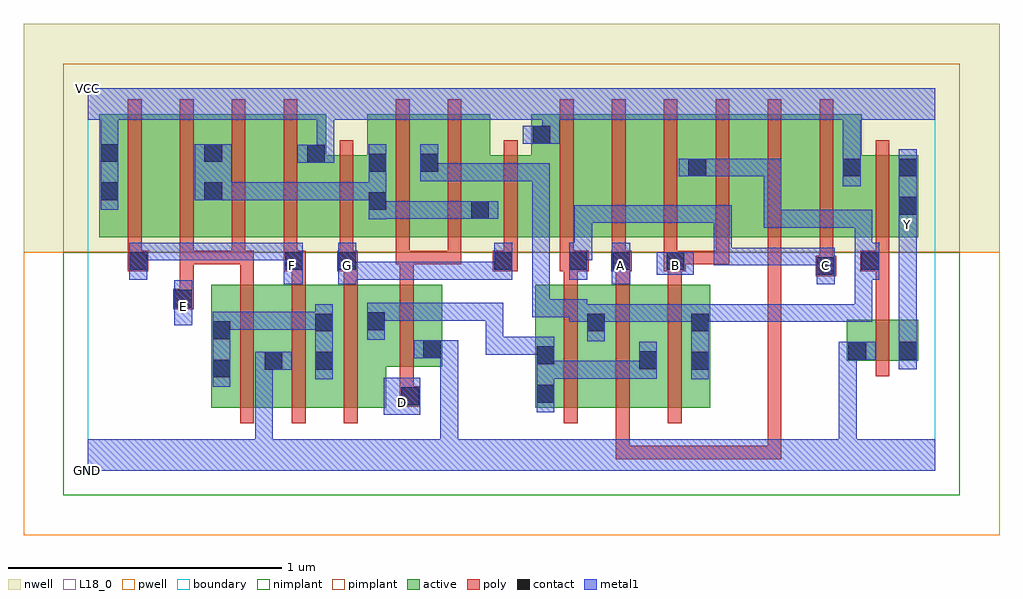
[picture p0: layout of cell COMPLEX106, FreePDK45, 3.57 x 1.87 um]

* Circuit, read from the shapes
.subckt COMPLEX106 A B C D E F G GND VCC Y
M1 GND E n1 VSUBS nfet w=0.45u l=0.05u
M2 n1 F GND VSUBS nfet w=0.45u l=0.05u
M3 n2 G n1 VSUBS nfet w=0.45u l=0.05u
M4 GND D n2 VSUBS nfet w=0.3u l=0.05u
M5 n3 C n2 VSUBS nfet w=0.45u l=0.05u
M6 n2 A n3 VSUBS nfet w=0.45u l=0.05u
M7 n3 B n2 VSUBS nfet w=0.45u l=0.05u
M8 Y n3 GND VSUBS nfet w=0.15u l=0.05u
M9 n4 F VCC n5 pfet w=0.45u l=0.05u
M10 n6 E n4 n5 pfet w=0.45u l=0.05u
M11 n7 E n6 n5 pfet w=0.45u l=0.05u
M12 VCC F n7 n5 pfet w=0.45u l=0.05u
M13 n6 G VCC n5 pfet w=0.3u l=0.05u m=2
M14 n3 D n6 n5 pfet w=0.45u l=0.05u m=2
M15 n8 C VCC n5 pfet w=0.45u l=0.05u
M16 n9 A n8 n5 pfet w=0.45u l=0.05u
M17 n3 B n9 n5 pfet w=0.45u l=0.05u
M18 n10 B n3 n5 pfet w=0.45u l=0.05u
M19 n11 A n10 n5 pfet w=0.45u l=0.05u
M20 VCC C n11 n5 pfet w=0.45u l=0.05u
M21 Y n3 VCC n5 pfet w=0.3u l=0.05u
.ends

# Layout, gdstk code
import gdstk
lib = gdstk.Library(unit=1e-6, precision=1e-09)
def R(c, l, rs):  # rectangles x0, y0, x1, y1
    for r in rs: c.add(gdstk.rectangle(r[:2], r[2:], *l))
def A(c, l, x, y, w, h, nx, ny, dx, dy):  # array of equal rectangles
    R(c, l, [(x+i*dx, y+j*dy, x+i*dx+w, y+j*dy+h) for i in range(nx) for j in range(ny)])
active = (1, 0)
pwell = (2, 0)
nwell = (3, 0)
nimplant = (4, 0)
pimplant = (5, 0)
poly = (9, 0)
contact = (10, 0)
metal1 = (11, 0)
L18_0 = (18, 0)
boundary = (235, 0)

complex106 = lib.new_cell('COMPLEX106')
R(complex106, active, [(0.452,0.23,0.717,0.68), (0.452,0.23,0.527,0.68), (0.642,0.23,0.902,0.68), (0.642,0.23,0.717,0.542), (0.827,0.23,1.092,0.68), (1.637,0.23,1.897,0.68), (1.822,0.23,2.087,0.68), (2.012,0.23,2.277,0.68), (1.637,0.232,1.712,0.68), (2.012,0.232,2.087,0.547), (2.202,0.232,2.277,0.68), (0.827,0.295,0.902,0.667), (1.822,0.295,1.897,0.675), (1.017,0.307,1.092,0.652), (1.017,0.38,1.297,0.68), (1.222,0.38,1.297,0.625), (2.777,0.402,2.852,0.552), (2.777,0.402,3.037,0.552), (2.962,0.402,3.037,0.552), (0.042,0.855,0.117,1.305), (0.042,0.855,0.267,1.305), (0.267,0.855,0.497,1.305), (0.422,0.855,0.647,1.305), (0.647,0.855,0.872,1.305), (0.797,0.855,1.097,1.155), (1.022,0.855,1.287,1.305), (1.212,0.855,1.472,1.305), (1.397,0.855,1.697,1.155), (1.622,0.855,1.847,1.305), (1.847,0.855,2.037,1.305), (2.037,0.855,2.267,1.305), (2.192,0.855,2.417,1.305), (2.417,0.855,2.607,1.305), (2.607,0.855,2.832,1.305), (2.757,0.855,3.037,1.155), (2.962,0.855,3.037,1.155), (0.422,0.857,0.497,1.2), (1.212,0.857,1.287,1.2), (2.192,0.857,2.267,1.2), (2.757,0.857,2.832,1.257), (1.022,0.887,1.097,1.2), (1.397,0.917,1.472,1.07), (1.622,0.925,1.697,1.305), (0.797,1.007,0.872,1.305)])
R(complex106, pwell, [(-0.235,-0.235,3.335,0.8)])
R(complex106, nwell, [(-0.235,0.8,3.335,1.635)])
R(complex106, nimplant, [(-0.09,-0.09,3.19,0.8)])
R(complex106, pimplant, [(-0.09,0.8,3.19,1.49)])
A(complex106, poly, 0.557, 0.175, 0.05, 0.56, 3, 1, 0.19, 0)
A(complex106, poly, 1.742, 0.175, 0.05, 0.56, 3, 1, 0.19, 0)
A(complex106, poly, 1.742, 0.685, 0.05, 0.095, 3, 1, 0.19, 0)
A(complex106, poly, 0.147, 0.755, 0.05, 0.095, 4, 1, 0.19, 0)
A(complex106, poly, 1.317, 0.755, 0.05, 0.095, 3, 1, 0.205, 0)
A(complex106, poly, 1.917, 0.755, 0.05, 0.095, 3, 1, 0.19, 0)
A(complex106, poly, 0.147, 0.8, 0.05, 0.56, 4, 1, 0.19, 0)
A(complex106, poly, 1.727, 0.8, 0.05, 0.56, 6, 1, 0.19, 0)
R(complex106, poly, [(1.932,0.042,1.982,0.092), (1.932,0.042,1.982,0.092), (1.932,0.042,1.982,0.092), (1.932,0.042,2.122,0.092), (1.932,0.042,1.982,0.225), (2.072,0.042,2.122,0.092), (2.072,0.042,2.122,0.092), (2.072,0.042,2.122,0.092), (2.072,0.042,2.405,0.092), (2.355,0.042,2.405,0.092), (2.355,0.042,2.405,0.092), (2.355,0.042,2.405,0.092), (2.355,0.042,2.405,0.092), (2.355,0.042,2.405,0.092), (2.355,0.042,2.537,0.092), (2.487,0.042,2.537,0.85), (2.487,0.042,2.537,0.092), (2.487,0.042,2.537,0.092), (2.487,0.042,2.537,0.092), (2.487,0.042,2.537,0.092), (2.487,0.042,2.537,0.092), (2.487,0.042,2.537,0.092), (2.487,0.042,2.537,0.092), (2.487,0.042,2.537,0.092), (2.487,0.042,2.537,0.092), (1.142,0.235,1.217,0.31), (1.142,0.26,1.192,0.375), (1.142,0.325,1.192,0.735), (2.882,0.347,2.932,0.607), (2.882,0.557,2.932,0.78), (0.312,0.592,0.387,0.667), (0.337,0.617,0.387,0.805), (0.557,0.685,0.607,0.805), (0.747,0.685,0.797,0.78), (0.937,0.685,0.987,0.78), (1.142,0.685,1.192,0.805), (2.662,0.712,2.737,0.787), (0.147,0.73,0.222,0.805), (0.717,0.73,0.797,0.805), (0.912,0.73,0.987,0.805), (1.482,0.73,1.572,0.805), (1.727,0.73,1.832,0.805), (1.915,0.73,1.99,0.805), (2.107,0.73,2.187,0.805), (2.825,0.73,2.932,0.805), (2.677,0.737,2.727,0.85), (0.337,0.755,0.387,0.805), (0.337,0.755,0.387,0.805), (0.337,0.755,0.387,0.805), (0.337,0.755,0.387,0.805), (0.337,0.755,0.387,0.805), (0.337,0.755,0.577,0.805), (0.527,0.755,0.607,0.805), (0.922,0.755,0.972,0.85), (1.127,0.755,1.177,0.85), (1.127,0.755,1.192,0.805), (1.142,0.755,1.192,0.805), (1.142,0.755,1.192,0.805), (1.142,0.755,1.367,0.805), (1.317,0.755,1.367,0.805), (2.137,0.755,2.187,0.805), (2.137,0.755,2.187,0.805), (2.137,0.755,2.347,0.805), (2.297,0.755,2.347,0.805), (2.882,0.755,2.932,0.85), (0.922,0.8,0.972,1.21), (1.127,0.8,1.177,1.36), (1.317,0.8,1.367,1.36), (1.522,0.8,1.572,1.21), (2.882,0.8,2.932,1.21)])
R(complex106, contact, [(1.147,0.24,1.212,0.305), (1.642,0.25,1.707,0.315), (0.457,0.342,0.522,0.407), (0.647,0.37,0.712,0.435), (0.832,0.37,0.897,0.435), (2.207,0.37,2.272,0.435), (2.017,0.372,2.082,0.437), (1.642,0.39,1.707,0.455), (2.782,0.407,2.847,0.472), (2.967,0.407,3.032,0.472), (1.227,0.412,1.292,0.477), (0.457,0.482,0.522,0.547), (0.832,0.51,0.897,0.575), (1.827,0.51,1.892,0.575), (2.207,0.51,2.272,0.575), (1.022,0.515,1.087,0.58), (0.317,0.597,0.382,0.662), (2.667,0.717,2.732,0.782), (0.152,0.735,0.217,0.8), (0.722,0.735,0.787,0.8), (0.917,0.735,0.982,0.8), (1.487,0.735,1.552,0.8), (1.762,0.735,1.827,0.8), (1.92,0.735,1.985,0.8), (2.117,0.735,2.182,0.8), (2.83,0.735,2.895,0.8), (1.402,0.922,1.467,0.987), (2.967,0.937,3.032,1.002), (1.027,0.955,1.092,1.02), (0.047,0.99,0.112,1.055), (0.427,0.99,0.492,1.055), (2.197,1.077,2.262,1.142), (2.762,1.077,2.827,1.142), (2.967,1.077,3.032,1.142), (1.027,1.095,1.092,1.16), (1.217,1.095,1.282,1.16), (0.802,1.127,0.867,1.192), (0.047,1.13,0.112,1.195), (0.427,1.13,0.492,1.195), (1.627,1.197,1.692,1.262)])
R(complex106, metal1, [(0,0,3.1,0.115), (0.612,0.05,0.677,0.115), (0.612,0.05,0.677,0.115), (0.612,0.05,0.677,0.435), (1.29,0.05,1.355,0.115), (1.29,0.05,1.355,0.115), (1.29,0.05,1.355,0.115), (1.29,0.05,1.355,0.115), (1.29,0.05,1.355,0.477), (2.747,0.05,2.812,0.115), (2.747,0.05,2.812,0.115), (2.747,0.05,2.812,0.115), (2.747,0.05,2.812,0.115), (2.747,0.05,2.812,0.472), (1.082,0.205,1.217,0.34), (1.642,0.215,1.707,0.49), (0.457,0.307,0.522,0.582), (0.832,0.335,0.897,0.61), (2.207,0.335,2.272,0.61), (1.642,0.337,1.845,0.402), (1.78,0.337,1.845,0.402), (1.78,0.337,1.845,0.402), (1.78,0.337,1.845,0.402), (1.78,0.337,1.982,0.402), (1.917,0.337,1.982,0.402), (1.917,0.337,2.082,0.402), (2.017,0.337,2.082,0.472), (0.612,0.37,0.677,0.435), (0.612,0.37,0.677,0.435), (0.612,0.37,0.747,0.435), (2.967,0.372,3.032,0.507), (2.747,0.407,2.812,0.472), (2.747,0.407,2.812,0.472), (2.747,0.407,2.812,0.472), (2.747,0.407,2.812,0.472), (2.747,0.407,2.882,0.472), (1.192,0.412,1.355,0.477), (1.29,0.412,1.355,0.477), (1.29,0.412,1.355,0.477), (1.455,0.425,1.52,0.49), (1.455,0.425,1.58,0.49), (1.455,0.425,1.52,0.615), (1.515,0.425,1.58,0.49), (1.515,0.425,1.707,0.49), (2.967,0.442,3.032,0.897), (1.827,0.475,1.892,0.61), (1.022,0.48,1.087,0.615), (0.457,0.517,0.522,0.582), (0.457,0.517,0.522,0.582), (0.457,0.517,0.695,0.582), (0.63,0.517,0.695,0.582), (0.63,0.517,0.695,0.582), (0.63,0.517,0.695,0.582), (0.63,0.517,0.897,0.582), (0.317,0.532,0.382,0.697), (1.762,0.545,1.892,0.61), (1.762,0.545,1.827,0.627), (1.827,0.545,2.01,0.61), (1.945,0.545,2.01,0.61), (1.945,0.545,2.03,0.61), (1.965,0.545,2.03,0.61), (1.965,0.545,2.217,0.61), (2.152,0.545,2.217,0.61), (2.152,0.545,2.272,0.61), (2.207,0.545,2.4,0.61), (2.335,0.545,2.4,0.61), (2.335,0.545,2.537,0.61), (2.472,0.545,2.537,0.61), (2.472,0.545,2.537,0.61), (2.472,0.545,2.537,0.61), (2.472,0.545,2.675,0.61), (2.61,0.545,2.675,0.61), (2.61,0.545,2.675,0.61), (2.61,0.545,2.675,0.61), (2.61,0.545,2.87,0.61), (2.805,0.545,2.87,0.61), (2.805,0.545,2.87,0.835), (1.022,0.55,1.23,0.615), (1.165,0.55,1.23,0.615), (1.165,0.55,1.23,0.615), (1.165,0.55,1.23,0.615), (1.165,0.55,1.415,0.615), (1.35,0.55,1.415,0.615), (1.35,0.55,1.52,0.615), (1.455,0.55,1.52,0.615), (1.625,0.562,1.69,0.627), (1.625,0.562,1.69,0.627), (1.625,0.562,1.69,0.627), (1.625,0.562,1.69,0.627), (1.625,0.562,1.69,0.627), (1.625,0.562,1.827,0.627), (1.625,0.562,1.69,1.125), (0.717,0.682,0.787,0.835), (0.917,0.682,0.982,0.835), (1.917,0.682,1.985,0.835), (2.667,0.682,2.732,0.817), (0.152,0.7,0.217,0.835), (0.917,0.7,0.982,0.765), (0.917,0.7,0.982,0.765), (0.917,0.7,1.23,0.765), (1.165,0.7,1.23,0.765), (1.165,0.7,1.23,0.765), (1.165,0.7,1.23,0.765), (1.165,0.7,1.415,0.765), (1.35,0.7,1.415,0.765), (1.35,0.7,1.42,0.765), (1.355,0.7,1.42,0.765), (1.355,0.7,1.552,0.765), (1.487,0.7,1.552,0.835), (1.762,0.7,1.827,0.835), (2.83,0.7,2.895,0.835), (2.082,0.717,2.217,0.8), (2.29,0.752,2.355,0.817), (2.29,0.752,2.355,0.817), (2.29,0.752,2.355,0.817), (2.29,0.752,2.537,0.817), (2.29,0.752,2.355,0.972), (2.472,0.752,2.537,0.817), (2.472,0.752,2.537,0.817), (2.472,0.752,2.537,0.817), (2.472,0.752,2.675,0.817), (2.61,0.752,2.675,0.817), (2.61,0.752,2.732,0.817), (0.152,0.77,0.217,0.835), (0.152,0.77,0.217,0.835), (0.152,0.77,0.355,0.835), (0.29,0.77,0.355,0.835), (0.29,0.77,0.507,0.835), (0.442,0.77,0.507,0.835), (0.442,0.77,0.507,0.835), (0.442,0.77,0.507,0.835), (0.442,0.77,0.665,0.835), (0.6,0.77,0.665,0.835), (0.6,0.77,0.782,0.835), (1.762,0.77,1.845,0.835), (1.78,0.77,1.845,0.835), (1.78,0.77,1.845,0.972), (2.805,0.77,2.87,0.835), (2.805,0.77,2.895,0.835), (2.805,0.77,2.87,0.955), (2.967,0.832,3.032,0.967), (2.472,0.89,2.537,0.955), (2.472,0.89,2.537,0.955), (2.472,0.89,2.537,0.955), (2.472,0.89,2.675,0.955), (2.472,0.89,2.537,1.142), (2.61,0.89,2.675,0.955), (2.61,0.89,2.675,0.955), (2.61,0.89,2.675,0.955), (2.61,0.89,2.87,0.955), (2.805,0.89,2.87,0.955), (2.967,0.902,3.032,0.967), (2.967,0.902,3.032,1.177), (1.78,0.907,1.845,0.972), (1.78,0.907,1.982,0.972), (1.917,0.907,1.982,0.972), (1.917,0.907,2.03,0.972), (1.965,0.907,2.03,0.972), (1.965,0.907,2.217,0.972), (2.152,0.907,2.217,0.972), (2.152,0.907,2.355,0.972), (2.29,0.907,2.355,0.972), (1.027,0.92,1.092,1.195), (1.027,0.922,1.277,0.987), (1.212,0.922,1.277,0.987), (1.212,0.922,1.277,0.987), (1.212,0.922,1.277,0.987), (1.212,0.922,1.415,0.987), (1.35,0.922,1.415,0.987), (1.35,0.922,1.432,0.987), (1.367,0.922,1.502,0.987), (0.047,0.955,0.112,1.23), (0.392,0.99,0.527,1.195), (0.462,0.99,0.527,1.055), (0.462,0.99,0.527,1.055), (0.462,0.99,0.665,1.055), (0.6,0.99,0.665,1.055), (0.6,0.99,0.665,1.055), (0.6,0.99,0.665,1.055), (0.6,0.99,0.845,1.055), (0.78,0.99,0.845,1.055), (0.78,0.99,0.845,1.055), (0.78,0.99,0.845,1.055), (0.78,0.99,1.092,1.055), (2.762,1.042,2.827,1.177), (1.217,1.06,1.282,1.195), (1.217,1.06,1.415,1.125), (1.35,1.06,1.415,1.125), (1.35,1.06,1.432,1.125), (1.367,1.06,1.432,1.125), (1.367,1.06,1.69,1.125), (1.625,1.06,1.69,1.125), (1.625,1.06,1.69,1.125), (1.625,1.06,1.69,1.125), (2.162,1.077,2.297,1.142), (2.232,1.077,2.355,1.142), (2.29,1.077,2.355,1.142), (2.29,1.077,2.537,1.142), (2.472,1.077,2.537,1.142), (2.762,1.112,2.827,1.35), (0.767,1.127,0.902,1.192), (0.837,1.127,0.902,1.35), (0.047,1.165,0.112,1.35), (1.592,1.197,1.727,1.262), (1.662,1.197,1.727,1.35), (0,1.285,3.1,1.4)])
R(complex106, L18_0, [(0,0,3.1,0.115), (0.612,0.05,0.677,0.115), (0.612,0.05,0.677,0.115), (0.612,0.05,0.677,0.435), (1.29,0.05,1.355,0.115), (1.29,0.05,1.355,0.115), (1.29,0.05,1.355,0.115), (1.29,0.05,1.355,0.115), (1.29,0.05,1.355,0.477), (2.747,0.05,2.812,0.115), (2.747,0.05,2.812,0.115), (2.747,0.05,2.812,0.115), (2.747,0.05,2.812,0.115), (2.747,0.05,2.812,0.472), (1.082,0.205,1.217,0.34), (1.117,0.217,1.182,0.282), (0.612,0.37,0.677,0.435), (0.612,0.37,0.677,0.435), (0.612,0.37,0.747,0.435), (2.967,0.372,3.032,0.507), (2.747,0.407,2.812,0.472), (2.747,0.407,2.812,0.472), (2.747,0.407,2.812,0.472), (2.747,0.407,2.812,0.472), (2.747,0.407,2.882,0.472), (1.192,0.412,1.355,0.477), (1.29,0.412,1.355,0.477), (1.29,0.412,1.355,0.477), (2.967,0.442,3.032,0.897), (0.317,0.532,0.382,0.697), (0.317,0.567,0.382,0.632), (0.717,0.682,0.787,0.835), (0.917,0.682,0.982,0.835), (1.917,0.682,1.985,0.835), (2.667,0.682,2.732,0.817), (0.152,0.7,0.217,0.835), (0.917,0.7,0.982,0.765), (0.917,0.7,0.982,0.765), (0.917,0.7,1.23,0.765), (1.165,0.7,1.23,0.765), (1.165,0.7,1.23,0.765), (1.165,0.7,1.23,0.765), (1.165,0.7,1.415,0.765), (1.35,0.7,1.415,0.765), (1.35,0.7,1.42,0.765), (1.355,0.7,1.42,0.765), (1.355,0.7,1.552,0.765), (1.487,0.7,1.552,0.835), (1.762,0.7,1.827,0.835), (0.717,0.717,0.782,0.782), (0.917,0.717,0.982,0.782), (1.917,0.717,1.982,0.782), (2.082,0.717,2.217,0.8), (2.117,0.717,2.182,0.782), (2.667,0.717,2.732,0.782), (2.29,0.752,2.355,0.817), (2.29,0.752,2.355,0.817), (2.29,0.752,2.355,0.817), (2.29,0.752,2.355,0.972), (2.29,0.752,2.537,0.817), (2.472,0.752,2.537,0.817), (2.472,0.752,2.537,0.817), (2.472,0.752,2.537,0.817), (2.472,0.752,2.675,0.817), (2.61,0.752,2.675,0.817), (2.61,0.752,2.732,0.817), (0.152,0.77,0.217,0.835), (0.152,0.77,0.217,0.835), (0.152,0.77,0.355,0.835), (0.29,0.77,0.355,0.835), (0.29,0.77,0.507,0.835), (0.442,0.77,0.507,0.835), (0.442,0.77,0.507,0.835), (0.442,0.77,0.507,0.835), (0.442,0.77,0.665,0.835), (0.6,0.77,0.665,0.835), (0.6,0.77,0.782,0.835), (1.762,0.77,1.845,0.835), (1.78,0.77,1.845,0.835), (1.78,0.77,1.845,0.972), (2.967,0.832,3.032,0.967), (2.967,0.867,3.032,0.932), (2.967,0.902,3.032,1.177), (2.967,0.902,3.032,0.967), (1.78,0.907,1.845,0.972), (1.78,0.907,1.982,0.972), (1.917,0.907,1.982,0.972), (1.917,0.907,2.03,0.972), (1.965,0.907,2.03,0.972), (1.965,0.907,2.217,0.972), (2.152,0.907,2.217,0.972), (2.152,0.907,2.355,0.972), (2.29,0.907,2.355,0.972), (0.047,0.955,0.112,1.23), (2.762,1.042,2.827,1.177), (2.762,1.112,2.827,1.35), (0.767,1.127,0.902,1.192), (0.837,1.127,0.902,1.35), (0.047,1.165,0.112,1.35), (1.592,1.197,1.727,1.262), (1.662,1.197,1.727,1.35), (0,1.285,3.1,1.4)])
R(complex106, boundary, [(0,0,3.1,1.4)])
complex106.add(gdstk.Label('A', (1.95,0.75), layer=11, texttype=0))
complex106.add(gdstk.Label('B', (2.15,0.75), layer=11, texttype=0))
complex106.add(gdstk.Label('C', (2.7,0.75), layer=11, texttype=0))
complex106.add(gdstk.Label('D', (1.15,0.25), layer=11, texttype=0))
complex106.add(gdstk.Label('E', (0.35,0.6), layer=11, texttype=0))
complex106.add(gdstk.Label('F', (0.75,0.75), layer=11, texttype=0))
complex106.add(gdstk.Label('G', (0.95,0.75), layer=11, texttype=0))
complex106.add(gdstk.Label('Y', (3,0.9), layer=11, texttype=0))
complex106.add(gdstk.Label('VCC', (0,1.4), layer=11, texttype=0))
complex106.add(gdstk.Label('GND', (0,0), layer=11, texttype=0))

lib.write_gds('COMPLEX106.gds')
